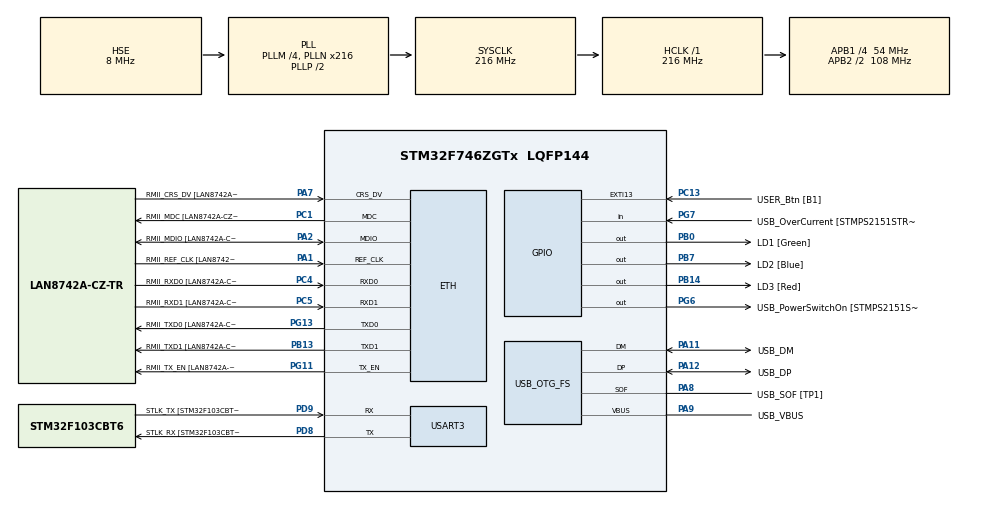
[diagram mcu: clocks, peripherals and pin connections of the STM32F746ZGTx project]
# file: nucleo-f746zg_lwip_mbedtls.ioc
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ETH.MediaInterface=HAL_ETH_RMII_MODE
ETH.PHY_Name=LAN8742A_PHY_ADDRESS
ETH.PHY_Value=0
ETH.PhyAddress=0
ETH.RxMode=ETH_RXINTERRUPT_MODE
FREERTOS.Tasks01=defaultTask,0,512,StartDefaultTask,Default,NULL,Dynamic,NULL,NULL;sslTask,0,2560,StartSSLTask,As weak,NULL,Dynamic,NULL,NULL
FREERTOS.configCHECK_FOR_STACK_OVERFLOW=2
FREERTOS.configENABLE_FPU=1
FREERTOS.configGENERATE_RUN_TIME_STATS=1
FREERTOS.configMINIMAL_STACK_SIZE=512
FREERTOS.configTOTAL_HEAP_SIZE=65536
FREERTOS.configUSE_NEWLIB_REENTRANT=1
FREERTOS.configUSE_STATS_FORMATTING_FUNCTIONS=1
FREERTOS.configUSE_TRACE_FACILITY=1
LWIP.BSP.number=1
LWIP.CMSIS_VERSION-Enabled=1
LWIP.Version=v2.1.2_Cube
LWIP0.BSP.STBoard=false
LWIP0.BSP.api=BSP_COMPONENT_DRIVER
LWIP0.BSP.component=LAN8742
LWIP0.BSP.instance=LAN8742
LWIP0.BSP.name=Driver_PHY
LWIP0.BSP.semaphore=S_LAN8742
LWIP0.BSP.solution=LAN8742
MBEDTLS.MBEDTLS_AES_ROM_TABLES=1
MBEDTLS.MBEDTLS_DEBUG_C=1
MBEDTLS.MBEDTLS_ECJPAKE_C=1
MBEDTLS.MBEDTLS_ECP_FIXED_POINT_OPTIM=0
MBEDTLS.MBEDTLS_ECP_FIXED_POINT_OPTIM_ENABLE=1
MBEDTLS.MBEDTLS_ECP_MAX_BITS=384
MBEDTLS.MBEDTLS_ECP_MAX_BITS_ENABLE=1
MBEDTLS.MBEDTLS_ECP_WINDOW_SIZE=2
MBEDTLS.MBEDTLS_ECP_WINDOW_SIZE_ENABLE=1
MBEDTLS.MBEDTLS_ENTROPY_FORCE_SHA256=1
MBEDTLS.MBEDTLS_ENTROPY_MAX_SOURCES=2
MBEDTLS.MBEDTLS_ENTROPY_MAX_SOURCES_ENABLE=1
MBEDTLS.MBEDTLS_HAVE_TIME_DATE=0
MBEDTLS.MBEDTLS_KEY_EXCHANGE_ECJPAKE_ENABLED=1
MBEDTLS.MBEDTLS_MPI_MAX_SIZE=1024
MBEDTLS.MBEDTLS_MPI_MAX_SIZE_ENABLE=1
MBEDTLS.MBEDTLS_PLATFORM_MEMORY=1
MBEDTLS.MBEDTLS_PLATFORM_PRINTF_MACRO_ENABLE=1
MBEDTLS.MBEDTLS_PLATFORM_STD_PRINTF_ENABLE=0
MBEDTLS.MBEDTLS_SHA256_SMALLER=1
MBEDTLS.MBEDTLS_SSL_CIPHERSUITES=MBEDTLS_TLS_ECDHE_ECDSA_WITH_AES_256_GCM_SHA384,MBEDTLS_TLS_ECDHE_ECDSA_WITH_AES_128_GCM_SHA256,MBEDTLS_TLS_ECDHE_RSA_WITH_AES_128_GCM_SHA256
MBEDTLS.MBEDTLS_SSL_CIPHERSUITES_ENABLE=1
MBEDTLS.MBEDTLS_SSL_MAX_CONTENT_LEN=4096
MBEDTLS.MBEDTLS_SSL_MAX_CONTENT_LEN_ENABLE=1
MBEDTLS.MBEDTLS_SSL_SRV_RESPECT_CLIENT_PREFERENCE=1
Mcu.Family=STM32F7
Mcu.Name=STM32F746ZGTx
Mcu.Package=LQFP144
NVIC.ETH_IRQn=true\:5\:0\:false\:false\:true\:true\:false\:true\:true
NVIC.PriorityGroup=NVIC_PRIORITYGROUP_4
NVIC.TIM7_IRQn=true\:15\:0\:false\:false\:true\:false\:false\:true\:true
NVIC.TimeBase=TIM7_IRQn
NVIC.TimeBaseIP=TIM7
PA1.GPIO_Label=RMII_REF_CLK [LAN8742A-CZ-TR_REFCLK0]
PA1.Mode=RMII
PA1.Signal=ETH_REF_CLK
PA10.GPIO_Label=USB_ID
PA10.Signal=USB_OTG_FS_ID
PA11.GPIO_Label=USB_DM
PA11.Mode=Device_Only
PA11.Signal=USB_OTG_FS_DM
PA12.GPIO_Label=USB_DP
PA12.Mode=Device_Only
PA12.Signal=USB_OTG_FS_DP
PA13.GPIO_Label=TMS
PA13.Mode=Trace_Asynchronous_SW
PA13.Signal=SYS_JTMS-SWDIO
PA14.GPIO_Label=TCK
PA14.Mode=Trace_Asynchronous_SW
PA14.Signal=SYS_JTCK-SWCLK
PA2.GPIO_Label=RMII_MDIO [LAN8742A-CZ-TR_MDIO]
PA2.Mode=RMII
PA2.Signal=ETH_MDIO
PA7.GPIO_Label=RMII_CRS_DV [LAN8742A-CZ-TR_CRS_DV]
PA7.Mode=RMII
PA7.Signal=ETH_CRS_DV
PA8.GPIO_Label=USB_SOF [TP1]
PA8.Mode=Activate_SOF_FS
PA8.Signal=USB_OTG_FS_SOF
PA9.GPIO_Label=USB_VBUS
PA9.Mode=Activate_VBUS
PA9.Signal=USB_OTG_FS_VBUS
PB0.GPIO_Label=LD1 [Green]
PB0.Signal=GPIO_Output
PB13.GPIO_Label=RMII_TXD1 [LAN8742A-CZ-TR_TXD1]
PB13.Mode=RMII
PB13.Signal=ETH_TXD1
PB14.GPIO_Label=LD3 [Red]
PB14.Signal=GPIO_Output
PB3.GPIO_Label=SW0
PB3.Mode=Trace_Asynchronous_SW
PB3.Signal=SYS_JTDO-SWO
PB7.GPIO_Label=LD2 [Blue]
PB7.Signal=GPIO_Output
PC1.GPIO_Label=RMII_MDC [LAN8742A-CZ-TR_MDC]
PC1.Mode=RMII
PC1.Signal=ETH_MDC
PC13.GPIO_Label=USER_Btn [B1]
PC13.Signal=GPXTI13
PC14/OSC32_IN.Mode=LSE-External-Oscillator
PC14/OSC32_IN.Signal=RCC_OSC32_IN
PC15/OSC32_OUT.Mode=LSE-External-Oscillator
PC15/OSC32_OUT.Signal=RCC_OSC32_OUT
PC4.GPIO_Label=RMII_RXD0 [LAN8742A-CZ-TR_RXD0]
PC4.Mode=RMII
PC4.Signal=ETH_RXD0
PC5.GPIO_Label=RMII_RXD1 [LAN8742A-CZ-TR_RXD1]
PC5.Mode=RMII
PC5.Signal=ETH_RXD1
PD8.GPIO_Label=STLK_RX [STM32F103CBT6_PA3]
PD8.Mode=Asynchronous
PD8.Signal=USART3_TX
PD9.GPIO_Label=STLK_TX [STM32F103CBT6_PA2]
PD9.Mode=Asynchronous
PD9.Signal=USART3_RX
PG11.GPIO_Label=RMII_TX_EN [LAN8742A-CZ-TR_TXEN]
PG11.Mode=RMII
PG11.Signal=ETH_TX_EN
PG13.GPIO_Label=RMII_TXD0 [LAN8742A-CZ-TR_TXD0]
PG13.Mode=RMII
PG13.Signal=ETH_TXD0
PG6.GPIO_Label=USB_PowerSwitchOn [STMPS2151STR_EN]
PG6.Signal=GPIO_Output
PG7.GPIO_Label=USB_OverCurrent [STMPS2151STR_FAULT]
PG7.Signal=GPIO_Input
PH0/OSC_IN.GPIO_Label=MCO [STM32F103CBT6_PA8]
PH0/OSC_IN.Mode=HSE-External-Clock-Source
PH0/OSC_IN.Signal=RCC_OSC_IN
PH1/OSC_OUT.Mode=HSE-External-Clock-Source
PH1/OSC_OUT.Signal=RCC_OSC_OUT
ProjectManager.HeapSize=0x200
ProjectManager.StackSize=0x400
ProjectManager.TargetToolchain=STM32CubeIDE
RCC.48MHZClocksFreq_Value=24000000
RCC.AHBFreq_Value=216000000
RCC.APB1CLKDivider=RCC_HCLK_DIV4
RCC.APB1Freq_Value=54000000
RCC.APB1TimFreq_Value=108000000
RCC.APB2CLKDivider=RCC_HCLK_DIV2
RCC.APB2Freq_Value=108000000
RCC.APB2TimFreq_Value=216000000
RCC.CortexFreq_Value=216000000
RCC.HCLKFreq_Value=216000000
RCC.HSE_VALUE=8000000
RCC.HSI_VALUE=16000000
RCC.PLLM=4
RCC.PLLMUL=RCC_PLL_MUL9
RCC.PLLN=216
RCC.PLLQ=9
RCC.PRESCALERUSB=RCC_USBCLKSOURCE_PLL_DIV1_5
RCC.SYSCLKFreq_VALUE=216000000
RCC.SYSCLKSource=RCC_SYSCLKSOURCE_PLLCLK
RCC.SYSCLKSourceVirtual=RCC_SYSCLKSOURCE_PLLCLK
RCC.USBFreq_Value=48000000
RCC.VCOOutputFreq_Value=432000000
USART3.VirtualMode-Asynchronous=VM_ASYNC
USB_OTG_FS.VirtualMode=Device_Only
VP_FREERTOS_VS_CMSIS_V1.Mode=CMSIS_V1
VP_LWIP_VS_Enabled.Mode=Enabled
VP_MBEDTLS_VS_MBEDTLS.Mode=Enabled
VP_RNG_VS_RNG.Mode=RNG_Activate
VP_SYS_VS_tim7.Mode=TIM7
board=NUCLEO-F746ZG

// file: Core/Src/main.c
/* USER CODE BEGIN Header */
/**
  ******************************************************************************
  * @file           : main.c
  * @brief          : Main program body
  ******************************************************************************
  * @attention
  *
  * Copyright (c) 2022 STMicroelectronics.
  * All rights reserved.
  *
  * This software is licensed under terms that can be found in the LICENSE file
  * in the root directory of this software component.
  * If no LICENSE file comes with this software, it is provided AS-IS.
  *
  ******************************************************************************
  */
/* USER CODE END Header */
#include "main.h"
#include "cmsis_os.h"
#include "rng.h"
#include "usart.h"
#include "usb_otg.h"
#include "gpio.h"
#include "mbedtls.h"

/* USER CODE BEGIN Includes */
#include <stdio.h>
/* USER CODE END Includes */

void SystemClock_Config(void);
void MX_FREERTOS_Init(void);

/* USER CODE BEGIN 0 */
int _write(int file, char *ptr, int len)
{
  int DataIdx;

  for (DataIdx = 0; DataIdx < len; DataIdx++)
  {
    ITM_SendChar(*ptr++);
  }
  return len;
}
/* USER CODE END 0 */

int main(void)
{

  /* MCU Configuration--------------------------------------------------------*/

  /* Reset of all peripherals, Initializes the Flash interface and the Systick. */
  HAL_Init();

  /* USER CODE BEGIN Init */
  __HAL_DBGMCU_FREEZE_TIM7();
  /* USER CODE END Init */

  /* Configure the system clock */
  SystemClock_Config();

  /* Initialize all configured peripherals */
  MX_GPIO_Init();
  MX_USART3_UART_Init();
  MX_USB_OTG_FS_PCD_Init();
  MX_RNG_Init();
  /* Call PreOsInit function */
//  MX_MBEDTLS_Init();
  /* USER CODE BEGIN 2 */
  printf("Don't remove this printf to prevent hard fault.\r\n");
  /* USER CODE END 2 */

  /* Call init function for freertos objects (in freertos.c) */
  MX_FREERTOS_Init();

  /* Start scheduler */
  osKernelStart();

  /* We should never get here as control is now taken by the scheduler */
  /* Infinite loop */
  while (1)
  {

  }
}

void SystemClock_Config(void)
{
  RCC_OscInitTypeDef RCC_OscInitStruct = {0};
  RCC_ClkInitTypeDef RCC_ClkInitStruct = {0};

  /** Configure LSE Drive Capability
  */
  HAL_PWR_EnableBkUpAccess();

  /** Configure the main internal regulator output voltage
  */
  __HAL_RCC_PWR_CLK_ENABLE();
  __HAL_PWR_VOLTAGESCALING_CONFIG(PWR_REGULATOR_VOLTAGE_SCALE1);

  /** Initializes the RCC Oscillators according to the specified parameters
  * in the RCC_OscInitTypeDef structure.
  */
  RCC_OscInitStruct.OscillatorType = RCC_OSCILLATORTYPE_HSE;
  RCC_OscInitStruct.HSEState = RCC_HSE_BYPASS;
  RCC_OscInitStruct.PLL.PLLState = RCC_PLL_ON;
  RCC_OscInitStruct.PLL.PLLSource = RCC_PLLSOURCE_HSE;
  RCC_OscInitStruct.PLL.PLLM = 4;
  RCC_OscInitStruct.PLL.PLLN = 216;
  RCC_OscInitStruct.PLL.PLLP = RCC_PLLP_DIV2;
  RCC_OscInitStruct.PLL.PLLQ = 9;
  if (HAL_RCC_OscConfig(&RCC_OscInitStruct) != HAL_OK)
  {
    Error_Handler();
  }

  /** Activate the Over-Drive mode
  */
  if (HAL_PWREx_EnableOverDrive() != HAL_OK)
  {
    Error_Handler();
  }

  /** Initializes the CPU, AHB and APB buses clocks
  */
  RCC_ClkInitStruct.ClockType = RCC_CLOCKTYPE_HCLK|RCC_CLOCKTYPE_SYSCLK
                              |RCC_CLOCKTYPE_PCLK1|RCC_CLOCKTYPE_PCLK2;
  RCC_ClkInitStruct.SYSCLKSource = RCC_SYSCLKSOURCE_PLLCLK;
  RCC_ClkInitStruct.AHBCLKDivider = RCC_SYSCLK_DIV1;
  RCC_ClkInitStruct.APB1CLKDivider = RCC_HCLK_DIV4;
  RCC_ClkInitStruct.APB2CLKDivider = RCC_HCLK_DIV2;

  if (HAL_RCC_ClockConfig(&RCC_ClkInitStruct, FLASH_LATENCY_7) != HAL_OK)
  {
    Error_Handler();
  }
}

void HAL_TIM_PeriodElapsedCallback(TIM_HandleTypeDef *htim)
{
  if (htim->Instance == TIM7) {
    HAL_IncTick();
  }
}

void Error_Handler(void)
{
  __disable_irq();
  while (1)
  {
  }
}

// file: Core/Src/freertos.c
/* USER CODE BEGIN Header */
/**
  ******************************************************************************
  * File Name          : freertos.c
  * Description        : Code for freertos applications
  ******************************************************************************
  * @attention
  *
  * Copyright (c) 2022 STMicroelectronics.
  * All rights reserved.
  *
  * This software is licensed under terms that can be found in the LICENSE file
  * in the root directory of this software component.
  * If no LICENSE file comes with this software, it is provided AS-IS.
  *
  ******************************************************************************
  */
/* USER CODE END Header */

#include "FreeRTOS.h"
#include "task.h"
#include "main.h"
#include "cmsis_os.h"

/* USER CODE BEGIN Includes */
#include <stdio.h>
#include "lwip.h"
#include "ssl_client.h"
/* USER CODE END Includes */

osThreadId defaultTaskHandle;
osThreadId sslTaskHandle;

void StartDefaultTask(void const * argument);
void StartSSLTask(void const * argument);

void MX_FREERTOS_Init(void); /* (MISRA C 2004 rule 8.1) */

/* GetIdleTaskMemory prototype (linked to static allocation support) */
void vApplicationGetIdleTaskMemory( StaticTask_t **ppxIdleTaskTCBBuffer, StackType_t **ppxIdleTaskStackBuffer, uint32_t *pulIdleTaskStackSize );

/* Hook prototypes */
void configureTimerForRunTimeStats(void);
unsigned long getRunTimeCounterValue(void);
void vApplicationStackOverflowHook(xTaskHandle xTask, signed char *pcTaskName);

/* USER CODE BEGIN 1 */
/* Functions needed when configGENERATE_RUN_TIME_STATS is on */
__weak void configureTimerForRunTimeStats(void)
{

}

__weak unsigned long getRunTimeCounterValue(void)
{
return 0;
}
/* USER CODE END 1 */

/* USER CODE BEGIN 4 */
void vApplicationStackOverflowHook(xTaskHandle xTask, signed char *pcTaskName)
{
   /* Run time stack overflow checking is performed if
   configCHECK_FOR_STACK_OVERFLOW is defined to 1 or 2. This hook function is
   called if a stack overflow is detected. */
  HAL_GPIO_WritePin(LD3_GPIO_Port, LD3_Pin,  GPIO_PIN_SET);
}
/* USER CODE END 4 */

/* USER CODE BEGIN GET_IDLE_TASK_MEMORY */
static StaticTask_t xIdleTaskTCBBuffer;
static StackType_t xIdleStack[configMINIMAL_STACK_SIZE];

void vApplicationGetIdleTaskMemory( StaticTask_t **ppxIdleTaskTCBBuffer, StackType_t **ppxIdleTaskStackBuffer, uint32_t *pulIdleTaskStackSize )
{
  *ppxIdleTaskTCBBuffer = &xIdleTaskTCBBuffer;
  *ppxIdleTaskStackBuffer = &xIdleStack[0];
  *pulIdleTaskStackSize = configMINIMAL_STACK_SIZE;
  /* place for user code */
}
/* USER CODE END GET_IDLE_TASK_MEMORY */

void MX_FREERTOS_Init(void) {

  /* Create the thread(s) */
  /* definition and creation of defaultTask */
  osThreadDef(defaultTask, StartDefaultTask, osPriorityNormal, 0, 512);
  defaultTaskHandle = osThreadCreate(osThread(defaultTask), NULL);

  /* definition and creation of sslTask */
  osThreadDef(sslTask, StartSSLTask, osPriorityNormal, 0, 2560);
  sslTaskHandle = osThreadCreate(osThread(sslTask), NULL);

}

void StartDefaultTask(void const * argument)
{
  /* USER CODE BEGIN StartDefaultTask */
  TaskStatus_t sslTaskStatus;

  MX_LWIP_Init(); //moved MX_LWIP_Init from mbedtls_net_init

  /* Infinite loop */
  for(;;)
  {
    vTaskGetInfo(sslTaskHandle, &sslTaskStatus, pdFALSE, eInvalid);

    if (sslTaskStatus.eCurrentState == eDeleted)
    {
      printf("Recreate sslTask...\n\n");

      osThreadDef(sslTask, StartSSLTask, osPriorityNormal, 0, 2560);
      sslTaskHandle = osThreadCreate(osThread(sslTask), NULL);
    }

    HAL_GPIO_TogglePin(LD2_GPIO_Port, LD2_Pin);
    osDelay(1000);
  }
  /* USER CODE END StartDefaultTask */
}

__weak void StartSSLTask(void const * argument)
{
  for(;;)
  {
    osDelay(1);
  }
}
